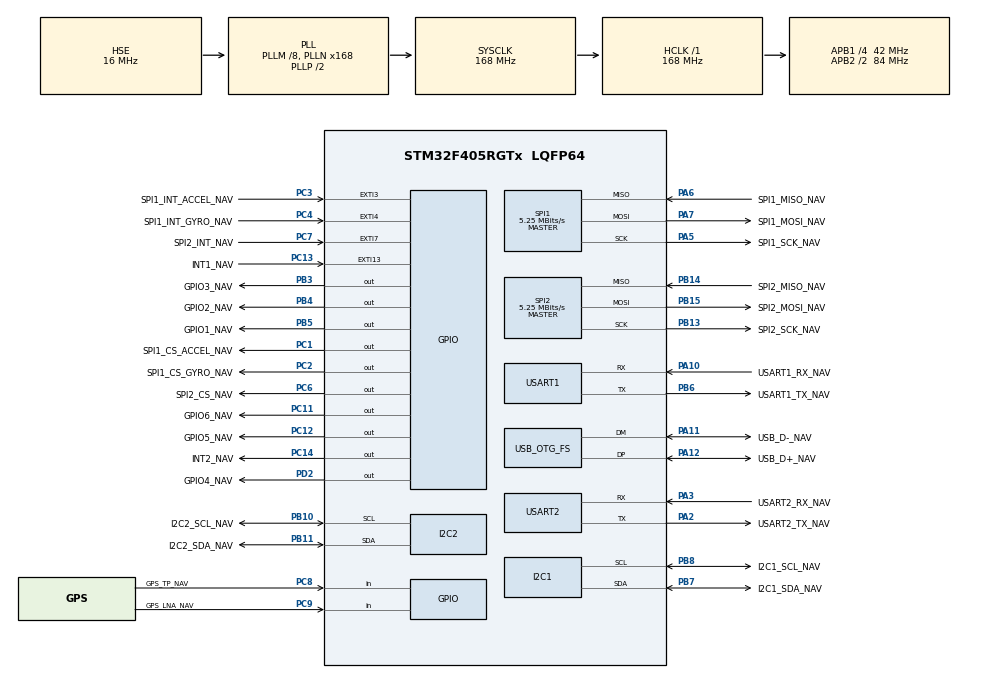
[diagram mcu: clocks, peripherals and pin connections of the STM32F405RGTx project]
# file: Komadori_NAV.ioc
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Mcu.Family=STM32F4
Mcu.Name=STM32F405RGTx
Mcu.Package=LQFP64
NVIC.EXTI3_IRQn=true\:0\:0\:false\:false\:true\:true\:true\:true
NVIC.EXTI4_IRQn=true\:0\:0\:false\:false\:true\:true\:true\:true
NVIC.EXTI9_5_IRQn=true\:0\:0\:false\:false\:true\:true\:true\:true
NVIC.OTG_FS_IRQn=true\:0\:0\:false\:false\:true\:false\:true\:true
NVIC.PriorityGroup=NVIC_PRIORITYGROUP_4
PA10.GPIO_Label=USART1_RX_NAV
PA10.Mode=Asynchronous
PA10.Signal=USART1_RX
PA11.GPIO_Label=USB_D-_NAV
PA11.Mode=Device_Only
PA11.Signal=USB_OTG_FS_DM
PA12.GPIO_Label=USB_D+_NAV
PA12.Mode=Device_Only
PA12.Signal=USB_OTG_FS_DP
PA13.GPIO_Label=SWDIO_NAV
PA13.Mode=Serial_Wire
PA13.Signal=SYS_JTMS-SWDIO
PA14.GPIO_Label=SWCLK_NAV
PA14.Mode=Serial_Wire
PA14.Signal=SYS_JTCK-SWCLK
PA2.GPIO_Label=USART2_TX_NAV
PA2.Mode=Asynchronous
PA2.Signal=USART2_TX
PA3.GPIO_Label=USART2_RX_NAV
PA3.Mode=Asynchronous
PA3.Signal=USART2_RX
PA5.GPIO_Label=SPI1_SCK_NAV
PA5.Mode=Full_Duplex_Master
PA5.Signal=SPI1_SCK
PA6.GPIO_Label=SPI1_MISO_NAV
PA6.Mode=Full_Duplex_Master
PA6.Signal=SPI1_MISO
PA7.GPIO_Label=SPI1_MOSI_NAV
PA7.Mode=Full_Duplex_Master
PA7.Signal=SPI1_MOSI
PB10.GPIO_Label=I2C2_SCL_NAV
PB10.Mode=I2C
PB10.Signal=I2C2_SCL
PB11.GPIO_Label=I2C2_SDA_NAV
PB11.Mode=I2C
PB11.Signal=I2C2_SDA
PB13.GPIO_Label=SPI2_SCK_NAV
PB13.Mode=Full_Duplex_Master
PB13.Signal=SPI2_SCK
PB14.GPIO_Label=SPI2_MISO_NAV
PB14.Mode=Full_Duplex_Master
PB14.Signal=SPI2_MISO
PB15.GPIO_Label=SPI2_MOSI_NAV
PB15.Mode=Full_Duplex_Master
PB15.Signal=SPI2_MOSI
PB3.GPIO_Label=GPIO3_NAV
PB3.Signal=GPIO_Output
PB4.GPIO_Label=GPIO2_NAV
PB4.Signal=GPIO_Output
PB5.GPIO_Label=GPIO1_NAV
PB5.Signal=GPIO_Output
PB6.GPIO_Label=USART1_TX_NAV
PB6.Mode=Asynchronous
PB6.Signal=USART1_TX
PB7.GPIO_Label=I2C1_SDA_NAV
PB7.Mode=I2C
PB7.Signal=I2C1_SDA
PB8.GPIO_Label=I2C1_SCL_NAV
PB8.Mode=I2C
PB8.Signal=I2C1_SCL
PC1.GPIO_Label=SPI1_CS_ACCEL_NAV
PC1.Signal=GPIO_Output
PC11.GPIO_Label=GPIO6_NAV
PC11.Signal=GPIO_Output
PC12.GPIO_Label=GPIO5_NAV
PC12.Signal=GPIO_Output
PC13-ANTI_TAMP.GPIO_Label=INT1_NAV
PC13-ANTI_TAMP.Signal=GPXTI13
PC14-OSC32_IN.GPIO_Label=INT2_NAV
PC14-OSC32_IN.Signal=GPIO_Output
PC2.GPIO_Label=SPI1_CS_GYRO_NAV
PC2.Signal=GPIO_Output
PC3.GPIO_Label=SPI1_INT_ACCEL_NAV
PC3.Signal=GPXTI3
PC4.GPIO_Label=SPI1_INT_GYRO_NAV
PC4.Signal=GPXTI4
PC6.GPIO_Label=SPI2_CS_NAV
PC6.GPIO_PuPd=GPIO_PULLDOWN
PC6.PinState=GPIO_PIN_RESET
PC6.Signal=GPIO_Output
PC7.GPIO_Label=SPI2_INT_NAV
PC7.Signal=GPXTI7
PC8.GPIO_Label=GPS_TP_NAV
PC8.Signal=GPIO_Input
PC9.GPIO_Label=GPS_LNA_NAV
PC9.Signal=GPIO_Input
PD2.GPIO_Label=GPIO4_NAV
PD2.Signal=GPIO_Output
PH0-OSC_IN.Mode=HSE-External-Oscillator
PH0-OSC_IN.Signal=RCC_OSC_IN
PH1-OSC_OUT.Mode=HSE-External-Oscillator
PH1-OSC_OUT.Signal=RCC_OSC_OUT
ProjectManager.HeapSize=0x200
ProjectManager.StackSize=0x400
ProjectManager.TargetToolchain=STM32CubeIDE
RCC.48MHZClocksFreq_Value=48000000
RCC.AHBFreq_Value=168000000
RCC.APB1CLKDivider=RCC_HCLK_DIV4
RCC.APB1Freq_Value=42000000
RCC.APB1TimFreq_Value=84000000
RCC.APB2CLKDivider=RCC_HCLK_DIV2
RCC.APB2Freq_Value=84000000
RCC.APB2TimFreq_Value=168000000
RCC.CortexFreq_Value=168000000
RCC.HCLKFreq_Value=168000000
RCC.HSE_VALUE=16000000
RCC.HSI_VALUE=16000000
RCC.LSE_VALUE=32768
RCC.PLLM=8
RCC.PLLN=168
RCC.PLLQ=7
RCC.RCC_RTC_Clock_SourceVirtual=RCC_RTCCLKSOURCE_HSE_DIV25
RCC.RCC_RTC_Clock_Source_FROM_HSE=RCC_RTCCLKSOURCE_HSE_DIV25
RCC.SYSCLKFreq_VALUE=168000000
RCC.SYSCLKSource=RCC_SYSCLKSOURCE_PLLCLK
RCC.VCOOutputFreq_Value=336000000
SPI1.BaudRatePrescaler=SPI_BAUDRATEPRESCALER_16
SPI1.CLKPhase=SPI_PHASE_1EDGE
SPI1.CLKPolarity=SPI_POLARITY_LOW
SPI1.CalculateBaudRate=5.25 MBits/s
SPI1.Direction=SPI_DIRECTION_2LINES
SPI1.Mode=SPI_MODE_MASTER
SPI1.VirtualType=VM_MASTER
SPI2.BaudRatePrescaler=SPI_BAUDRATEPRESCALER_8
SPI2.CalculateBaudRate=5.25 MBits/s
SPI2.Direction=SPI_DIRECTION_2LINES
SPI2.Mode=SPI_MODE_MASTER
SPI2.VirtualType=VM_MASTER
USART1.VirtualMode=VM_ASYNC
USART2.VirtualMode=VM_ASYNC
USB_DEVICE.CLASS_NAME_FS=CDC
USB_DEVICE.VirtualMode-CDC_FS=Cdc
USB_DEVICE.VirtualModeFS=Cdc_FS
USB_OTG_FS.VirtualMode=Device_Only
VP_RTC_VS_RTC_Activate.Mode=RTC_Enabled
VP_USB_DEVICE_VS_USB_DEVICE_CDC_FS.Mode=CDC_FS
board=custom

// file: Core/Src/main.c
/* USER CODE BEGIN Header */
/**
  ******************************************************************************
  * @file           : main.c
  * @brief          : Main program body
  ******************************************************************************
  * @attention
  *
  * Copyright (c) 2025 STMicroelectronics.
  * All rights reserved.
  *
  * This software is licensed under terms that can be found in the LICENSE file
  * in the root directory of this software component.
  * If no LICENSE file comes with this software, it is provided AS-IS.
  *
  ******************************************************************************
  */
/* USER CODE END Header */
#include "main.h"
#include "usb_device.h"

/* USER CODE BEGIN Includes */

#include "usbd_cdc_if.h"
#include <math.h>

#include "LSM6DSLTR.h"
#include "BMM150.h"
#include "BMP390.h"
#include "BMI088.h"

#include "Kalman.h"
#include "RocketModel.h"

/* USER CODE END Includes */

/* USER CODE BEGIN PTD */

/* ============================================================
 *  Inter-chip protocol — NAV ↔ MPU
 *  This struct MUST be byte-identical on both boards.
 *  Layout (32 bytes, little-endian floats):
 *    [0]  sync1 = 0xA1     [16..19] phi   (rad)
 *    [1]  sync2 = 0xB5     [20..23] theta (rad)
 *    [2]  type  = 0x01     [24..27] psi   (rad)
 *    [3]  seq   (rolling)  [28..31] p     (rad/s, bias-corrected)
 *    [4]  flags            ──── waits, that doesn't fit 32 bytes.
 *  Real layout below:
 * ============================================================ */
typedef struct __attribute__((packed)) {
    uint8_t  sync1;        /*  0   LINK_SYNC1          */
    uint8_t  sync2;        /*  1   LINK_SYNC2          */
    uint8_t  type;         /*  2   LINK_TYPE_STATE     */
    uint8_t  seq;          /*  3   rolling counter     */
    uint8_t  flags;        /*  4   bit0 = att_init, bit1 = mag_ref */
    uint8_t  reserved;     /*  5   keep total at 32    */
    float    phi;          /*  6   rad                 */
    float    theta;        /* 10   rad                 */
    float    psi;          /* 14   rad                 */
    float    p;            /* 18   rad/s (bias-corrected) */
    float    q;            /* 22                       */
    float    r;            /* 26                       */
    uint16_t crc;          /* 30   CRC-16/CCITT-FALSE over bytes [0..29] */
} link_state_t;
/* Compile-time size check (C89-portable; fails to compile with a
 * "negative size array" error if the struct is ever the wrong size). */
typedef char link_state_size_check[sizeof(link_state_t) == 32 ? 1 : -1];

/* USER CODE END PTD */

/* USER CODE BEGIN PD */
#define USB_BUFLEN        128

#define LINK_PACKET_LEN   32        /* must equal sizeof(link_state_t)        */
#define LINK_SYNC1        0xA1
#define LINK_SYNC2        0xB5
#define LINK_TYPE_STATE   0x01

#define LINK_FLAG_ATT_INIT   (1u << 0)
#define LINK_FLAG_MAG_REF    (1u << 1)
/* USER CODE END PD */

I2C_HandleTypeDef hi2c1;
I2C_HandleTypeDef hi2c2;

RTC_HandleTypeDef hrtc;

SPI_HandleTypeDef hspi1;
SPI_HandleTypeDef hspi2;

UART_HandleTypeDef huart1;
UART_HandleTypeDef huart2;

/* USER CODE BEGIN PV */

/* =====================================================================
 *  Inter-chip UART link (NAV side)
 * =====================================================================
 *  Handshake:
 *    MPU --INT1_MPU(out)--> INT1_NAV(EXTI rising) :  "I'm sending"
 *    NAV --INT2_NAV(out)--> INT2_MPU(EXTI rising) :  "I'm sending"
 *
 *  On EXTI rising on INT1_NAV the NAV arms HAL_UART_Receive_IT for one
 *  fixed-size packet; HAL_UART_RxCpltCallback raises mpu_rx_ready for
 *  the main loop to consume.
 *
 *  TX direction (NAV -> MPU) carries the rocket state packet at 100 Hz
 *  via nav_send_state().
 * ===================================================================== */

uint8_t  link_rx_buf[LINK_PACKET_LEN];
uint8_t  link_tx_buf[LINK_PACKET_LEN];
volatile uint8_t mpu_rx_ready = 0;       /* set by HAL_UART_RxCpltCallback */
volatile uint8_t link_tx_busy = 0;       /* gates nav_send_packet re-entry */

BMI088 imu1;
LSM6DSLTR imu2;
BMM150 magneto;
BMP390 prs;

Kalman      ekf;            //  6-DOF strapdown EKF (primary state estimator)
RocketModel rmdl;           //  9-DOF dynamic model, runs in parallel for validation

/* Process noise (diagonal).  u,v,w [m/s per sqrt(s)]^2  ;  phi,theta,psi [rad/s per sqrt(s)]^2 */
float Q_ekf[6] = {
    1.0e-2f, 1.0e-2f, 1.0e-2f,   /* velocity: smaller Q fights drift when obs are sparse */
    1.0e-3f, 1.0e-3f, 1.0e-3f
};

/* Measurement noise (tune against static bench data) */
float R_accel[3] = { 0.5f, 0.5f, 0.5f };   /* (m/s^2)^2   */
float R_mag      = 0.1f;                    /* rad^2       */
float R_baro     = 1.0f;                    /* (m/s)^2     */
float R_gps[3]   = { 0.25f, 0.25f, 0.25f }; /* (m/s)^2     */
float R_zupt     = 0.01f;                   /* tight: believe v = 0 when static */

/* Placeholders — hook up real servo commands and a thrust-time curve later */
float cmd_delta_eta  = 0.0f;
float cmd_delta_zeta = 0.0f;
float cmd_delta_r    = 0.0f;
float cmd_thrust_N   = 0.0f;

/* Sensor bias estimates — updated in-place during static detection on the pad.
 * gyr_bias absorbs the ~0.1-0.5 deg/s BMI088 offset that otherwise walks phi.
 * acc_bias absorbs accel DC offset so Kalman_UpdateAccel sees a true +g vector. */
float gyr_bias[3] = {0.0f, 0.0f, 0.0f};
float acc_bias[3] = {0.0f, 0.0f, 0.0f};

/* Nav-frame magnetic reference, captured once on pad during static hold.
 * Fixes the "phi=0" heading to whatever orientation the rocket sits in at t0. */
float            mag_nav[3]                = {0.0f, 0.0f, 0.0f};
uint8_t          mag_reference_captured    = 0;
volatile uint8_t static_now                = 0;   /* set by gyro handler each tick */

/* Tilt-compensated phi from magnetometer.
 *   body mag  =  R_x(phi) R_y(theta) R_z(psi) * mag_nav
 * With A = -sy*mnx + cy*mny,  B = st*cy*mnx + st*sy*mny + ct*mnz :
 *   m_by = A*cp + B*sp,   m_bz = B*cp - A*sp
 * → phi = atan2(m_by*B - m_bz*A,  m_by*A + m_bz*B)
 * Returns 0 when the horizontal-field basis degenerates (|A|,|B| both small). */
static inline int phi_from_mag(const float m_b[3], const float mn[3],
                               float theta, float psi, float *phi_out)
{
    const float st = sinf(theta), ct = cosf(theta);
    const float sy = sinf(psi),   cy = cosf(psi);
    const float A = -sy*mn[0] + cy*mn[1];
    const float B =  st*cy*mn[0] + st*sy*mn[1] + ct*mn[2];
    if (A*A + B*B < 1e-6f) return 0;
    *phi_out = atan2f(m_b[1]*B - m_b[2]*A,
                      m_b[1]*A + m_b[2]*B);
    return 1;
}

/* Interrupt Flags and timers*/
volatile uint8_t imu1_acc_drdy = 0;
volatile uint8_t imu1_gyr_drdy = 0;
volatile uint8_t bmp390_drdy   = 0;

volatile uint32_t acc_t = 0,    gyr_t = 0,    bmp_t = 0,	last_gyr_t = 0;

uint8_t vehiclestate = 0;
// Test counters
//volatile uint32_t imu1_acc_irq_cnt = 0;
//volatile uint32_t imu1_gyr_irq_cnt = 0;
//volatile uint32_t bmp390_irq_cnt   = 0;

/* USB data buffer */
uint8_t usbTxBuf[USB_BUFLEN];
uint16_t usbTxBufLen;
/* USER CODE END PV */

void SystemClock_Config(void);
static void MX_GPIO_Init(void);
static void MX_SPI1_Init(void);
static void MX_SPI2_Init(void);
static void MX_I2C1_Init(void);
static void MX_I2C2_Init(void);
static void MX_USART1_UART_Init(void);
static void MX_USART2_UART_Init(void);
static void MX_RTC_Init(void);
/* USER CODE BEGIN PFP */

void HAL_GPIO_EXTI_Callback(uint16_t GPIO_Pin);

/* App layer — main-loop helpers */
static void app_init_sensors(void);
static void app_arm_uart_rx(void);
static void app_handle_imu_accel(void);
static void app_handle_imu_gyro(void);
static void app_handle_baro(void);
static void app_handle_mag(void);
static void app_handle_link_rx(void);
static void app_emit_telemetry(void);
static void app_send_state(void);

/* Public TX entry (call when NAV wants to push a packet up to the MPU) */
HAL_StatusTypeDef nav_send_packet(const uint8_t *buf, uint16_t n);

/* CRC-16/CCITT-FALSE (poly 0x1021, init 0xFFFF, no reflect, no xor-out) */
static uint16_t crc16_ccitt(const uint8_t *data, uint16_t len);

/* USER CODE END PFP */

/* USER CODE BEGIN 0 */

/* Shared loop state previously living inline in main() */
static uint8_t  ekf_attitude_initialized = 0;
static uint32_t lastPrint                = 0;

/* Latest bias-corrected gyro reading [rad/s] — updated in
 * app_handle_imu_gyro(), consumed in app_send_state(). */
static float gyr_corrected[3] = {0.0f, 0.0f, 0.0f};

/* ---------------------------------------------------------------------
 *  CRC-16 / CCITT-FALSE
 *      poly  = 0x1021
 *      init  = 0xFFFF
 *      refin = false, refout = false, xorout = 0x0000
 *  Matches Boost / pycrc / online calculators set to "CCITT-FALSE".
 * ------------------------------------------------------------------ */
static uint16_t crc16_ccitt(const uint8_t *data, uint16_t len)
{
    uint16_t crc = 0xFFFF;
    while (len--) {
        crc ^= (uint16_t)(*data++) << 8;
        for (int i = 0; i < 8; i++)
            crc = (crc & 0x8000) ? (uint16_t)((crc << 1) ^ 0x1021)
                                 : (uint16_t)(crc << 1);
    }
    return crc;
}

/* ---------------------------------------------------------------------
 *  app_init_sensors
 *  Powers up all on-board peripherals and seeds the filter state.
 *  Called once from main() right after the CubeMX MX_*_Init() calls.
 * ------------------------------------------------------------------ */
static void app_init_sensors(void)
{
    BMM150_Init   (&magneto, &hi2c2);
    LSM6DSLTR_Init(&imu2,    &hi2c2);
    BMI088_Init   (&imu1,    &hspi1);
    BMP390_Init   (&prs,     &hspi2);

    Kalman_Init     (&ekf, 0.5f, Q_ekf, R_accel, R_mag, R_baro, R_gps);
    RocketModel_Init(&rmdl, NULL);

    last_gyr_t = gyr_t;                 /* avoids huge first dt */
}

/* ---------------------------------------------------------------------
 *  app_arm_uart_rx
 *  Idempotently re-arms the UART1 RX interrupt for a fixed-length
 *  packet.  Used both at boot (defensive: even before the first
 *  INT1_NAV edge) and from the INT1_NAV EXTI handler.
 * ------------------------------------------------------------------ */
static void app_arm_uart_rx(void)
{
    if (huart1.RxState == HAL_UART_STATE_READY) {
        HAL_UART_Receive_IT(&huart1, link_rx_buf, LINK_PACKET_LEN);
    }
}

/* ---------------------------------------------------------------------
 *  Accelerometer DRDY processing — one-shot attitude seed + EKF accel
 *  update.  Velocity drift on the pad gets murdered if attitude is
 *  initialised from the first reliable g-reading instead of starting
 *  at 0° while the rocket is actually tilted.
 * ------------------------------------------------------------------ */
static void app_handle_imu_accel(void)
{
    if (!imu1_acc_drdy) return;
    imu1_acc_drdy = 0;

    BMI088_ReadAcceleration(&imu1);

    const float ax = imu1.acc_mps2[0] - acc_bias[0];
    const float ay = imu1.acc_mps2[1] - acc_bias[1];
    const float az = imu1.acc_mps2[2] - acc_bias[2];
    const float acc_c[3] = { ax, ay, az };

    if (!ekf_attitude_initialized) {
        const float an = sqrtf(ax*ax + ay*ay + az*az);
        if (an > 0.5f * 9.80665f && an < 1.5f * 9.80665f) {
            ekf.x[4] = atan2f(az, ax);
            ekf.x[3] = atan2f(ay, sqrtf(ax*ax + az*az));
            ekf.x[5] = 0.0f;
            ekf_attitude_initialized = 1;
        }
    }

    Kalman_UpdateAccel(&ekf, acc_c);    /* internally gated to |a| ~ g */
}

/* ---------------------------------------------------------------------
 *  Gyro DRDY processing — drives Kalman_Predict, the parallel rocket
 *  model, ZUPT, and the running gyro/accel bias EMA while static.
 * ------------------------------------------------------------------ */
static void app_handle_imu_gyro(void)
{
    if (!imu1_gyr_drdy) return;
    imu1_gyr_drdy = 0;

    BMI088_ReadAngularRate(&imu1);

    const float dt = (float)(gyr_t - last_gyr_t) / (float)SystemCoreClock;
    last_gyr_t = gyr_t;

    /* Publish the bias-corrected gyro so app_send_state() can grab it
     * without reaching into the EKF internals. */
    gyr_corrected[0] = imu1.gyr_rdps[0] - gyr_bias[0];
    gyr_corrected[1] = imu1.gyr_rdps[1] - gyr_bias[1];
    gyr_corrected[2] = imu1.gyr_rdps[2] - gyr_bias[2];

    const float acc_c[3] = {
        imu1.acc_mps2[0] - acc_bias[0],
        imu1.acc_mps2[1] - acc_bias[1],
        imu1.acc_mps2[2] - acc_bias[2]
    };

    Kalman_Predict (&ekf,  acc_c, gyr_corrected, dt);
    RocketModel_Step(&rmdl,
                     cmd_delta_eta, cmd_delta_zeta, cmd_delta_r,
                     cmd_thrust_N, dt);

    /* Static detection on the RAW readings */
    const float gx = imu1.gyr_rdps[0];
    const float gy = imu1.gyr_rdps[1];
    const float gz = imu1.gyr_rdps[2];
    const float axr = imu1.acc_mps2[0];
    const float ayr = imu1.acc_mps2[1];
    const float azr = imu1.acc_mps2[2];
    const float gyr2 = gx*gx + gy*gy + gz*gz;
    const float an   = sqrtf(axr*axr + ayr*ayr + azr*azr);
    static_now = (gyr2 < (0.1f*0.1f)) && (fabsf(an - 9.80665f) < 0.5f);

    if (!static_now) return;

    Kalman_UpdateZUPT(&ekf, R_zupt);

    /* Gyro bias EMA: while static, truth = 0  →  bias ≈ raw reading */
    const float alpha_g = 0.005f;
    for (int i = 0; i < 3; i++)
        gyr_bias[i] += alpha_g * (imu1.gyr_rdps[i] - gyr_bias[i]);

    /* Accel bias EMA: expected static reading = R_b<-n * [+g, 0, 0] */
    if (ekf_attitude_initialized) {
        const float phi   = ekf.x[3];
        const float theta = ekf.x[4];
        const float psi   = ekf.x[5];
        const float sp=sinf(phi),   cp=cosf(phi);
        const float st=sinf(theta), ct=cosf(theta);
        const float sy=sinf(psi),   cy=cosf(psi);
        const float a_exp_x = 9.80665f *  ct*cy;
        const float a_exp_y = 9.80665f * (sp*st*cy - cp*sy);
        const float a_exp_z = 9.80665f * (sp*sy + cp*st*cy);
        const float alpha_a = 0.002f;
        acc_bias[0] += alpha_a * ((imu1.acc_mps2[0] - a_exp_x) - acc_bias[0]);
        acc_bias[1] += alpha_a * ((imu1.acc_mps2[1] - a_exp_y) - acc_bias[1]);
        acc_bias[2] += alpha_a * ((imu1.acc_mps2[2] - a_exp_z) - acc_bias[2]);
    }
}

/* ---------------------------------------------------------------------
 *  Barometer DRDY processing — pressure read only for now; altitude
 *  derivative → Kalman_UpdateBaro is left as a TODO.
 * ------------------------------------------------------------------ */
static void app_handle_baro(void)
{
    if (!bmp390_drdy) return;
    bmp390_drdy = 0;

    BMP390_ReadPressure(&prs);
    /* TODO: pressure -> altitude -> filtered dh/dt -> Kalman_UpdateBaro */
}

/* ---------------------------------------------------------------------
 *  Magnetometer @ 50 Hz — captures a phi=0 reference once static, then
 *  feeds tilt-compensated phi into the EKF.  Phi is unobservable from
 *  the accelerometer alone, so this is what keeps the heading bounded.
 * ------------------------------------------------------------------ */
static void app_handle_mag(void)
{
    static uint32_t last_mag_ms = 0;
    if (HAL_GetTick() - last_mag_ms < 20) return;
    last_mag_ms = HAL_GetTick();

    if (BMM150_ReadMagneticField(&magneto) != HAL_OK) return;

    /* PCB axis remap: BMM150 Y axis is along rocket body-X.
     * Right-handed cyclic map: body(x,y,z) = sensor(y,z,x). */
    const float m_body[3] = {
        magneto.mag_uT[1],
        magneto.mag_uT[2],
        magneto.mag_uT[0]
    };

    if (!mag_reference_captured && ekf_attitude_initialized && static_now) {
        const float theta = ekf.x[4];
        const float psi   = ekf.x[5];
        const float st=sinf(theta), ct=cosf(theta);
        const float sy=sinf(psi),   cy=cosf(psi);
        const float mx=m_body[0], my=m_body[1], mz=m_body[2];
        mag_nav[0] = ct*cy*mx + (-sy)*my + st*cy*mz;
        mag_nav[1] = ct*sy*mx + ( cy)*my + st*sy*mz;
        mag_nav[2] = -st  *mx + 0.0f*my + ct   *mz;
        mag_reference_captured = 1;
    }

    if (mag_reference_captured) {
        float phi_meas;
        if (phi_from_mag(m_body, mag_nav, ekf.x[4], ekf.x[5], &phi_meas)) {
            Kalman_UpdateMag(&ekf, phi_meas);
        }
    }
}

/* ---------------------------------------------------------------------
 *  Inter-chip link: drain a completed MPU→NAV packet.
 *  Edit the inside of this function to interpret the protocol once
 *  the MPU side has something useful to say.
 * ------------------------------------------------------------------ */
static void app_handle_link_rx(void)
{
    if (!mpu_rx_ready) return;
    mpu_rx_ready = 0;

    /* TODO: decode link_rx_buf[0..LINK_PACKET_LEN-1].
     * Today the MPU just streams {0..9} as a heartbeat. */

    /* Re-arm so the next INT1_NAV edge isn't strictly required to receive */
    app_arm_uart_rx();
}

/* ---------------------------------------------------------------------
 *  USB telemetry @ 10 Hz.  Two NMEA-style frames:
 *    $ALB  — EKF state + raw accel
 *    $MAG  — raw body-frame magnetometer (for hard-iron diagnostics)
 * ------------------------------------------------------------------ */
static void app_emit_telemetry(void)
{
    if (HAL_GetTick() - lastPrint <= 100) return;
    lastPrint = HAL_GetTick();

    usbTxBufLen = snprintf((char*)usbTxBuf, USB_BUFLEN,
        "$ALB,%.3f,%.3f,%.3f,%.2f,%.2f,%.2f,%.2f,%.2f,%.2f\r\n",
        imu1.acc_mps2[0], imu1.acc_mps2[1], imu1.acc_mps2[2],
        ekf.x[0], ekf.x[1], ekf.x[2],
        ekf.x[3] * 57.2957795f,
        ekf.x[4] * 57.2957795f,
        ekf.x[5] * 57.2957795f);
    CDC_Transmit_FS(usbTxBuf, usbTxBufLen);

    usbTxBufLen = snprintf((char*)usbTxBuf, USB_BUFLEN,
        "$MAG,%.2f,%.2f,%.2f\r\n",
        magneto.mag_uT[0], magneto.mag_uT[1], magneto.mag_uT[2]);
    CDC_Transmit_FS(usbTxBuf, usbTxBufLen);
}

/* ---------------------------------------------------------------------
 *  app_send_state — 100 Hz NAV → MPU state packet.
 *  Fills a link_state_t from the current EKF state + last bias-corrected
 *  gyro reading, computes the CRC, and hands it to nav_send_packet().
 *  Skips this tick if the previous TX hasn't drained — the next tick
 *  will pick up the freshest state, which is what a control loop wants.
 * ------------------------------------------------------------------ */
static void app_send_state(void)
{
    static uint32_t last_ms = 0;
    static uint8_t  seq     = 0;
    if (HAL_GetTick() - last_ms < 10) return;       /* ~100 Hz */
    last_ms = HAL_GetTick();

    link_state_t pkt;
    pkt.sync1    = LINK_SYNC1;
    pkt.sync2    = LINK_SYNC2;
    pkt.type     = LINK_TYPE_STATE;
    pkt.seq      = seq++;
    pkt.flags    = (uint8_t)
                 ( (ekf_attitude_initialized ? LINK_FLAG_ATT_INIT : 0u)
                 | (mag_reference_captured   ? LINK_FLAG_MAG_REF  : 0u) );
    pkt.reserved = 0;
    pkt.phi      = ekf.x[3];
    pkt.theta    = ekf.x[4];
    pkt.psi      = ekf.x[5];
    pkt.p        = gyr_corrected[0];
    pkt.q        = gyr_corrected[1];
    pkt.r        = gyr_corrected[2];
    pkt.crc      = crc16_ccitt((const uint8_t *)&pkt, sizeof(pkt) - 2);

    nav_send_packet((const uint8_t *)&pkt, sizeof(pkt));
}

/* ---------------------------------------------------------------------
 *  nav_send_packet — pulse INT2_NAV and start an interrupt-driven TX.
 *  The MPU's INT2_MPU EXTI rising edge arms its UART RX so the packet
 *  lands in its rx buffer.
 *
 *  Returns whatever HAL_UART_Transmit_IT returns; HAL_BUSY if a TX is
 *  already in flight.
 * ------------------------------------------------------------------ */
HAL_StatusTypeDef nav_send_packet(const uint8_t *buf, uint16_t n)
{
    if (link_tx_busy)                        return HAL_BUSY;
    if (n != LINK_PACKET_LEN || buf == NULL) return HAL_ERROR;

    for (uint16_t i = 0; i < n; i++) link_tx_buf[i] = buf[i];
    link_tx_busy = 1;

    /* Brief rising pulse on INT2_NAV → MPU EXTI arms its RX */
    HAL_GPIO_WritePin(INT2_NAV_GPIO_Port, INT2_NAV_Pin, GPIO_PIN_SET);
    /* ~1 µs settle; ISR latency on the other side is well under
     * one UART byte time (87 µs @ 115200) so the actual delay isn't
     * critical, but the explicit nop sequence keeps it deterministic. */
    for (volatile int i = 0; i < 32; i++) __NOP();
    HAL_GPIO_WritePin(INT2_NAV_GPIO_Port, INT2_NAV_Pin, GPIO_PIN_RESET);

    HAL_StatusTypeDef st = HAL_UART_Transmit_IT(&huart1, link_tx_buf, n);
    if (st != HAL_OK) link_tx_busy = 0;
    return st;
}

/* USER CODE END 0 */

int main(void)
{

  /* MCU Configuration--------------------------------------------------------*/

  /* Reset of all peripherals, Initializes the Flash interface and the Systick. */
  HAL_Init();

  /* USER CODE BEGIN Init */

  // Enable DWT cycle counter
  CoreDebug->DEMCR |= CoreDebug_DEMCR_TRCENA_Msk; // enable trace
  DWT->CYCCNT = 0;                                // reset counter
  DWT->CTRL |= DWT_CTRL_CYCCNTENA_Msk;             // start counter

  /* USER CODE END Init */

  /* Configure the system clock */
  SystemClock_Config();

  /* Initialize all configured peripherals */
  MX_GPIO_Init();
  MX_SPI1_Init();
  MX_SPI2_Init();
  MX_I2C1_Init();
  MX_I2C2_Init();
  MX_USART1_UART_Init();
  MX_USART2_UART_Init();
  MX_RTC_Init();
  MX_USB_DEVICE_Init();
  /* USER CODE BEGIN 2 */

  app_init_sensors();    /* sensors + EKF + parallel rocket model */
  app_arm_uart_rx();     /* listen for the first MPU packet */

  /* USER CODE END 2 */

  /* Infinite loop */
  /* USER CODE BEGIN WHILE */
  while (1)
  {
      app_handle_imu_accel();   /* accel DRDY → EKF accel update + one-shot attitude seed */
      app_handle_imu_gyro();    /* gyro  DRDY → EKF predict, ZUPT, bias EMA, parallel model */
      app_handle_baro();        /* bmp390 DRDY                                              */
      app_handle_mag();         /* 50 Hz mag poll → tilt-comp phi → Kalman_UpdateMag         */
      app_handle_link_rx();     /* drain MPU→NAV UART packet if RxCplt set the flag         */
      app_send_state();         /* 100 Hz NAV→MPU state packet for the control loop         */
      app_emit_telemetry();     /* 10 Hz USB telemetry                                      */

    /* USER CODE END WHILE */

  }
}

void SystemClock_Config(void)
{
  RCC_OscInitTypeDef RCC_OscInitStruct = {0};
  RCC_ClkInitTypeDef RCC_ClkInitStruct = {0};

  /** Configure the main internal regulator output voltage
  */
  __HAL_RCC_PWR_CLK_ENABLE();
  __HAL_PWR_VOLTAGESCALING_CONFIG(PWR_REGULATOR_VOLTAGE_SCALE1);

  /** Initializes the RCC Oscillators according to the specified parameters
  * in the RCC_OscInitTypeDef structure.
  */
  RCC_OscInitStruct.OscillatorType = RCC_OSCILLATORTYPE_HSE;
  RCC_OscInitStruct.HSEState = RCC_HSE_ON;
  RCC_OscInitStruct.PLL.PLLState = RCC_PLL_ON;
  RCC_OscInitStruct.PLL.PLLSource = RCC_PLLSOURCE_HSE;
  RCC_OscInitStruct.PLL.PLLM = 8;
  RCC_OscInitStruct.PLL.PLLN = 168;
  RCC_OscInitStruct.PLL.PLLP = RCC_PLLP_DIV2;
  RCC_OscInitStruct.PLL.PLLQ = 7;
  if (HAL_RCC_OscConfig(&RCC_OscInitStruct) != HAL_OK)
  {
    Error_Handler();
  }

  /** Initializes the CPU, AHB and APB buses clocks
  */
  RCC_ClkInitStruct.ClockType = RCC_CLOCKTYPE_HCLK|RCC_CLOCKTYPE_SYSCLK
                              |RCC_CLOCKTYPE_PCLK1|RCC_CLOCKTYPE_PCLK2;
  RCC_ClkInitStruct.SYSCLKSource = RCC_SYSCLKSOURCE_PLLCLK;
  RCC_ClkInitStruct.AHBCLKDivider = RCC_SYSCLK_DIV1;
  RCC_ClkInitStruct.APB1CLKDivider = RCC_HCLK_DIV4;
  RCC_ClkInitStruct.APB2CLKDivider = RCC_HCLK_DIV2;

  if (HAL_RCC_ClockConfig(&RCC_ClkInitStruct, FLASH_LATENCY_5) != HAL_OK)
  {
    Error_Handler();
  }
}

static void MX_I2C1_Init(void)
{

  hi2c1.Instance = I2C1;
  hi2c1.Init.ClockSpeed = 100000;
  hi2c1.Init.DutyCycle = I2C_DUTYCYCLE_2;
  hi2c1.Init.OwnAddress1 = 0;
  hi2c1.Init.AddressingMode = I2C_ADDRESSINGMODE_7BIT;
  hi2c1.Init.DualAddressMode = I2C_DUALADDRESS_DISABLE;
  hi2c1.Init.OwnAddress2 = 0;
  hi2c1.Init.GeneralCallMode = I2C_GENERALCALL_DISABLE;
  hi2c1.Init.NoStretchMode = I2C_NOSTRETCH_DISABLE;
  if (HAL_I2C_Init(&hi2c1) != HAL_OK)
  {
    Error_Handler();
  }

}

static void MX_I2C2_Init(void)
{

  hi2c2.Instance = I2C2;
  hi2c2.Init.ClockSpeed = 100000;
  hi2c2.Init.DutyCycle = I2C_DUTYCYCLE_2;
  hi2c2.Init.OwnAddress1 = 0;
  hi2c2.Init.AddressingMode = I2C_ADDRESSINGMODE_7BIT;
  hi2c2.Init.DualAddressMode = I2C_DUALADDRESS_DISABLE;
  hi2c2.Init.OwnAddress2 = 0;
  hi2c2.Init.GeneralCallMode = I2C_GENERALCALL_DISABLE;
  hi2c2.Init.NoStretchMode = I2C_NOSTRETCH_DISABLE;
  if (HAL_I2C_Init(&hi2c2) != HAL_OK)
  {
    Error_Handler();
  }

}

static void MX_RTC_Init(void)
{

  /** Initialize RTC Only
  */
  hrtc.Instance = RTC;
  hrtc.Init.HourFormat = RTC_HOURFORMAT_24;
  hrtc.Init.AsynchPrediv = 127;
  hrtc.Init.SynchPrediv = 255;
  hrtc.Init.OutPut = RTC_OUTPUT_DISABLE;
  hrtc.Init.OutPutPolarity = RTC_OUTPUT_POLARITY_HIGH;
  hrtc.Init.OutPutType = RTC_OUTPUT_TYPE_OPENDRAIN;
  if (HAL_RTC_Init(&hrtc) != HAL_OK)
  {
    Error_Handler();
  }

}

static void MX_SPI1_Init(void)
{

  /* SPI1 parameter configuration*/
  hspi1.Instance = SPI1;
  hspi1.Init.Mode = SPI_MODE_MASTER;
  hspi1.Init.Direction = SPI_DIRECTION_2LINES;
  hspi1.Init.DataSize = SPI_DATASIZE_8BIT;
  hspi1.Init.CLKPolarity = SPI_POLARITY_LOW;
  hspi1.Init.CLKPhase = SPI_PHASE_1EDGE;
  hspi1.Init.NSS = SPI_NSS_SOFT;
  hspi1.Init.BaudRatePrescaler = SPI_BAUDRATEPRESCALER_16;
  hspi1.Init.FirstBit = SPI_FIRSTBIT_MSB;
  hspi1.Init.TIMode = SPI_TIMODE_DISABLE;
  hspi1.Init.CRCCalculation = SPI_CRCCALCULATION_DISABLE;
  hspi1.Init.CRCPolynomial = 10;
  if (HAL_SPI_Init(&hspi1) != HAL_OK)
  {
    Error_Handler();
  }

}

static void MX_SPI2_Init(void)
{

  /* SPI2 parameter configuration*/
  hspi2.Instance = SPI2;
  hspi2.Init.Mode = SPI_MODE_MASTER;
  hspi2.Init.Direction = SPI_DIRECTION_2LINES;
  hspi2.Init.DataSize = SPI_DATASIZE_8BIT;
  hspi2.Init.CLKPolarity = SPI_POLARITY_LOW;
  hspi2.Init.CLKPhase = SPI_PHASE_1EDGE;
  hspi2.Init.NSS = SPI_NSS_SOFT;
  hspi2.Init.BaudRatePrescaler = SPI_BAUDRATEPRESCALER_8;
  hspi2.Init.FirstBit = SPI_FIRSTBIT_MSB;
  hspi2.Init.TIMode = SPI_TIMODE_DISABLE;
  hspi2.Init.CRCCalculation = SPI_CRCCALCULATION_DISABLE;
  hspi2.Init.CRCPolynomial = 10;
  if (HAL_SPI_Init(&hspi2) != HAL_OK)
  {
    Error_Handler();
  }

}

static void MX_USART1_UART_Init(void)
{

  huart1.Instance = USART1;
  huart1.Init.BaudRate = 115200;
  huart1.Init.WordLength = UART_WORDLENGTH_8B;
  huart1.Init.StopBits = UART_STOPBITS_1;
  huart1.Init.Parity = UART_PARITY_NONE;
  huart1.Init.Mode = UART_MODE_TX_RX;
  huart1.Init.HwFlowCtl = UART_HWCONTROL_NONE;
  huart1.Init.OverSampling = UART_OVERSAMPLING_16;
  if (HAL_UART_Init(&huart1) != HAL_OK)
  {
    Error_Handler();
  }

}

static void MX_USART2_UART_Init(void)
{

  huart2.Instance = USART2;
  huart2.Init.BaudRate = 115200;
  huart2.Init.WordLength = UART_WORDLENGTH_8B;
  huart2.Init.StopBits = UART_STOPBITS_1;
  huart2.Init.Parity = UART_PARITY_NONE;
  huart2.Init.Mode = UART_MODE_TX_RX;
  huart2.Init.HwFlowCtl = UART_HWCONTROL_NONE;
  huart2.Init.OverSampling = UART_OVERSAMPLING_16;
  if (HAL_UART_Init(&huart2) != HAL_OK)
  {
    Error_Handler();
  }

}

static void MX_GPIO_Init(void)
{
  GPIO_InitTypeDef GPIO_InitStruct = {0};

  /* GPIO Ports Clock Enable */
  __HAL_RCC_GPIOC_CLK_ENABLE();
  __HAL_RCC_GPIOH_CLK_ENABLE();
  __HAL_RCC_GPIOA_CLK_ENABLE();
  __HAL_RCC_GPIOB_CLK_ENABLE();
  __HAL_RCC_GPIOD_CLK_ENABLE();

  /*Configure GPIO pin Output Level */
  HAL_GPIO_WritePin(GPIOC, INT2_NAV_Pin|SPI1_CS_ACCEL_NAV_Pin|SPI1_CS_GYRO_NAV_Pin|SPI2_CS_NAV_Pin
                          |GPIO6_NAV_Pin|GPIO5_NAV_Pin, GPIO_PIN_RESET);

  /*Configure GPIO pin Output Level */
  HAL_GPIO_WritePin(GPIO4_NAV_GPIO_Port, GPIO4_NAV_Pin, GPIO_PIN_RESET);

  /*Configure GPIO pin Output Level */
  HAL_GPIO_WritePin(GPIOB, GPIO3_NAV_Pin|GPIO2_NAV_Pin|GPIO1_NAV_Pin, GPIO_PIN_RESET);

  /*Configure GPIO pins : INT1_NAV_Pin SPI1_INT_ACCEL_NAV_Pin SPI1_INT_GYRO_NAV_Pin SPI2_INT_NAV_Pin */
  GPIO_InitStruct.Pin = INT1_NAV_Pin|SPI1_INT_ACCEL_NAV_Pin|SPI1_INT_GYRO_NAV_Pin|SPI2_INT_NAV_Pin;
  GPIO_InitStruct.Mode = GPIO_MODE_IT_RISING;
  GPIO_InitStruct.Pull = GPIO_NOPULL;
  HAL_GPIO_Init(GPIOC, &GPIO_InitStruct);

  /*Configure GPIO pins : INT2_NAV_Pin SPI1_CS_ACCEL_NAV_Pin SPI1_CS_GYRO_NAV_Pin GPIO6_NAV_Pin
                           GPIO5_NAV_Pin */
  GPIO_InitStruct.Pin = INT2_NAV_Pin|SPI1_CS_ACCEL_NAV_Pin|SPI1_CS_GYRO_NAV_Pin|GPIO6_NAV_Pin
                          |GPIO5_NAV_Pin;
  GPIO_InitStruct.Mode = GPIO_MODE_OUTPUT_PP;
  GPIO_InitStruct.Pull = GPIO_NOPULL;
  GPIO_InitStruct.Speed = GPIO_SPEED_FREQ_LOW;
  HAL_GPIO_Init(GPIOC, &GPIO_InitStruct);

  /*Configure GPIO pin : SPI2_CS_NAV_Pin */
  GPIO_InitStruct.Pin = SPI2_CS_NAV_Pin;
  GPIO_InitStruct.Mode = GPIO_MODE_OUTPUT_PP;
  GPIO_InitStruct.Pull = GPIO_PULLDOWN;
  GPIO_InitStruct.Speed = GPIO_SPEED_FREQ_LOW;
  HAL_GPIO_Init(SPI2_CS_NAV_GPIO_Port, &GPIO_InitStruct);

  /*Configure GPIO pins : GPS_TP_NAV_Pin GPS_LNA_NAV_Pin */
  GPIO_InitStruct.Pin = GPS_TP_NAV_Pin|GPS_LNA_NAV_Pin;
  GPIO_InitStruct.Mode = GPIO_MODE_INPUT;
  GPIO_InitStruct.Pull = GPIO_NOPULL;
  HAL_GPIO_Init(GPIOC, &GPIO_InitStruct);

  /*Configure GPIO pin : GPIO4_NAV_Pin */
  GPIO_InitStruct.Pin = GPIO4_NAV_Pin;
  GPIO_InitStruct.Mode = GPIO_MODE_OUTPUT_PP;
  GPIO_InitStruct.Pull = GPIO_NOPULL;
  GPIO_InitStruct.Speed = GPIO_SPEED_FREQ_LOW;
  HAL_GPIO_Init(GPIO4_NAV_GPIO_Port, &GPIO_InitStruct);

  /*Configure GPIO pins : GPIO3_NAV_Pin GPIO2_NAV_Pin GPIO1_NAV_Pin */
  GPIO_InitStruct.Pin = GPIO3_NAV_Pin|GPIO2_NAV_Pin|GPIO1_NAV_Pin;
  GPIO_InitStruct.Mode = GPIO_MODE_OUTPUT_PP;
  GPIO_InitStruct.Pull = GPIO_NOPULL;
  GPIO_InitStruct.Speed = GPIO_SPEED_FREQ_LOW;
  HAL_GPIO_Init(GPIOB, &GPIO_InitStruct);

  /* EXTI interrupt init*/
  HAL_NVIC_SetPriority(EXTI3_IRQn, 0, 0);
  HAL_NVIC_EnableIRQ(EXTI3_IRQn);

  HAL_NVIC_SetPriority(EXTI4_IRQn, 0, 0);
  HAL_NVIC_EnableIRQ(EXTI4_IRQn);

  HAL_NVIC_SetPriority(EXTI9_5_IRQn, 0, 0);
  HAL_NVIC_EnableIRQ(EXTI9_5_IRQn);

  /* USER CODE BEGIN MX_GPIO_Init_2 */
  /* EXTI15_10 covers INT1_NAV (PC13) — fires when MPU pulses INT1_MPU.
   * Lower priority than the IMU EXTIs so a packet edge can't preempt
   * the gyro/accel timestamp capture. */
  HAL_NVIC_SetPriority(EXTI15_10_IRQn, 5, 0);
  HAL_NVIC_EnableIRQ  (EXTI15_10_IRQn);

  /* USART1 IRQ is required for HAL_UART_Receive_IT / _Transmit_IT */
  HAL_NVIC_SetPriority(USART1_IRQn, 5, 0);
  HAL_NVIC_EnableIRQ  (USART1_IRQn);
  /* USER CODE END MX_GPIO_Init_2 */
}

/* USER CODE BEGIN 4 */

void HAL_GPIO_EXTI_Callback(uint16_t GPIO_Pin)
{
	/*Use DWT instead of halgettick because of higher resolution*/
	uint32_t t = DWT->CYCCNT;

    if (GPIO_Pin == SPI1_INT_ACCEL_NAV_Pin) {
        imu1_acc_drdy = 1;
        acc_t = t;
        //imu1_acc_irq_cnt++;
    }
    else if (GPIO_Pin == SPI1_INT_GYRO_NAV_Pin) {
        imu1_gyr_drdy = 1;
        gyr_t = t;
        //imu1_gyr_irq_cnt++;

    }
    else if (GPIO_Pin == SPI2_INT_NAV_Pin) {
        bmp390_drdy = 1;
        bmp_t = t;
        //bmp390_irq_cnt++;

    }
    else if (GPIO_Pin == INT1_NAV_Pin) {
        /* MPU about to send.  Arm RX so the bytes land in link_rx_buf.
         * Idempotent — if RX is already armed (e.g. from a previous
         * heartbeat), HAL returns HAL_BUSY and we just keep listening. */
        if (huart1.RxState == HAL_UART_STATE_READY) {
            HAL_UART_Receive_IT(&huart1, link_rx_buf, LINK_PACKET_LEN);
        }
    }
}

/* ---------------------------------------------------------------------
 *  HAL UART completion callbacks — both raise main-loop flags only.
 * ------------------------------------------------------------------ */
void HAL_UART_RxCpltCallback(UART_HandleTypeDef *h)
{
    if (h->Instance == USART1) {
        mpu_rx_ready = 1;
    }
}

void HAL_UART_TxCpltCallback(UART_HandleTypeDef *h)
{
    if (h->Instance == USART1) {
        link_tx_busy = 0;
    }
}

/* ---------------------------------------------------------------------
 *  EXTI15_10_IRQHandler — INT1_NAV (PC13) lives on EXTI13, which the
 *  CubeMX-generated stm32f4xx_it.c does NOT contain a handler for.
 *  Defining one here as a strong symbol overrides the startup file's
 *  weak default and routes the line into HAL_GPIO_EXTI_Callback above.
 * ------------------------------------------------------------------ */
void EXTI15_10_IRQHandler(void)
{
    HAL_GPIO_EXTI_IRQHandler(INT1_NAV_Pin);
}

/* ---------------------------------------------------------------------
 *  USART1_IRQHandler — same story.  HAL_UART_*_IT only works if this
 *  handler routes the interrupt into the HAL.
 * ------------------------------------------------------------------ */
void USART1_IRQHandler(void)
{
    HAL_UART_IRQHandler(&huart1);
}

/* USER CODE END 4 */

void Error_Handler(void)
{
  __disable_irq();
  while (1)
  {
  }
}
